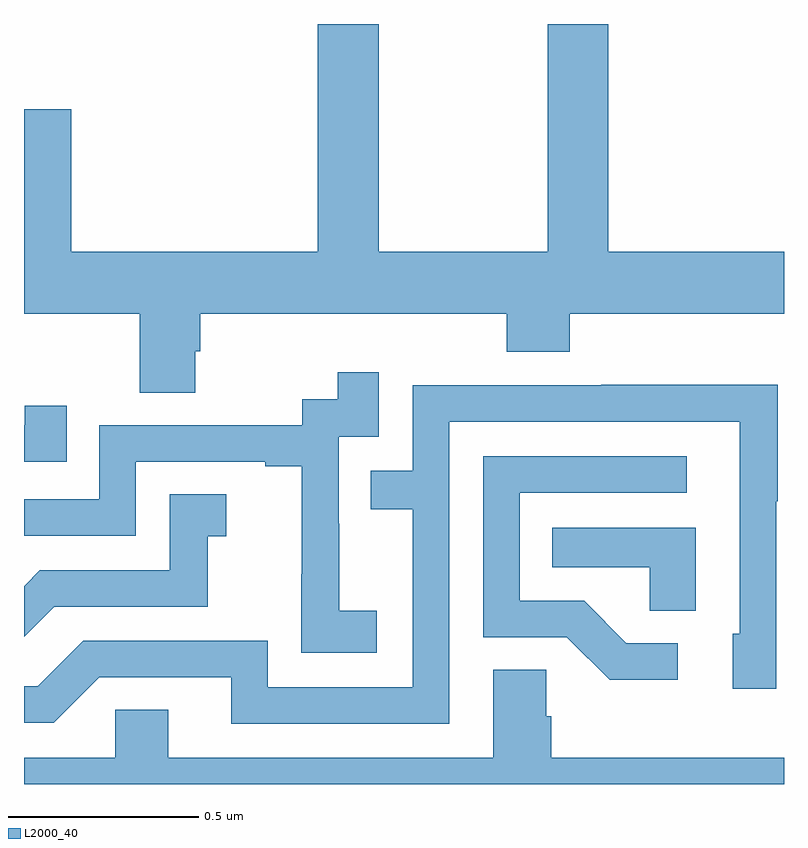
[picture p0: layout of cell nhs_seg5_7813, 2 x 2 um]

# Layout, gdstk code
import gdstk
lib = gdstk.Library(unit=1e-6, precision=1e-09)
def P(c, l, *ps):  # polygons
    for p in ps: c.add(gdstk.Polygon(p, *l))
L2000_40 = (2000, 40)

nhs_seg5_7813 = lib.new_cell('nhs_seg5_7813')
P(nhs_seg5_7813, L2000_40, [(213.451,913.938),(213.464,913.938),(213.464,914.036),(214.271,914.036),(214.271,913.937),(214.436,913.937),(214.436,914.036),(215,914.036),(215,914.2),(214.538,914.2),(214.538,914.799),(214.378,914.799),(214.378,914.2),(213.933,914.2),(213.933,914.799),(213.773,914.799),(213.773,914.2),(213.124,914.2),(213.124,914.575),(213,914.575),(213,914.036),(213.304,914.036),(213.304,913.828),(213.451,913.828)],
  [(213.928,913.255),(213.83,913.255),(213.83,913.484),(213.828,913.484),(213.828,913.713),(213.933,913.713),(213.933,913.882),(213.825,913.882),(213.825,913.812),(213.732,913.812),(213.732,913.743),(213.198,913.743),(213.198,913.548),(213,913.548),(213,913.452),(213.294,913.452),(213.294,913.647),(213.635,913.647),(213.635,913.635),(213.731,913.635),(213.731,913.351),(213.73,913.351),(213.73,913.145),(213.928,913.145)],
  [(214.119,913.752),(214.884,913.752),(214.884,913.194),(214.865,913.194),(214.865,913.05),(214.98,913.05),(214.98,913.543),(214.983,913.543),(214.983,913.85),(214.519,913.85),(214.519,913.848),(214.023,913.848),(214.023,913.623),(213.913,913.623),(213.913,913.522),(214.023,913.522),(214.023,913.053),(213.642,913.053),(213.642,913.176),(213.156,913.176),(213.036,913.056),(213,913.056),(213,912.96),(213.078,912.96),(213.198,913.08),(213.545,913.08),(213.545,912.957),(214.119,912.957)],
  [(213.113,913.795),(213.002,913.795),(213.002,913.743),(213,913.743),(213,913.647),(213.113,913.647)],
  [(214.72,913.17),(214.585,913.17),(214.474,913.281),(214.305,913.281),(214.305,913.566),(214.744,913.566),(214.744,913.662),(214.209,913.662),(214.209,913.185),(214.428,913.185),(214.541,913.073),(214.72,913.073)],
  [(213.079,913.266),(213.483,913.266),(213.483,913.451),(213.532,913.451),(213.532,913.561),(213.384,913.561),(213.384,913.362),(213.042,913.362),(213,913.32),(213,913.187)],
  [(214.768,913.474),(214.39,913.474),(214.39,913.37),(214.647,913.37),(214.647,913.255),(214.768,913.255)],
  [(215,912.868),(214.388,912.868),(214.388,912.977),(214.374,912.977),(214.374,913.1),(214.235,913.1),(214.235,912.868),(213.379,912.868),(213.379,912.995),(213.24,912.995),(213.24,912.868),(213,912.868),(213,912.799),(215,912.799)])

lib.write_gds('nhs_seg5_7813.gds')
